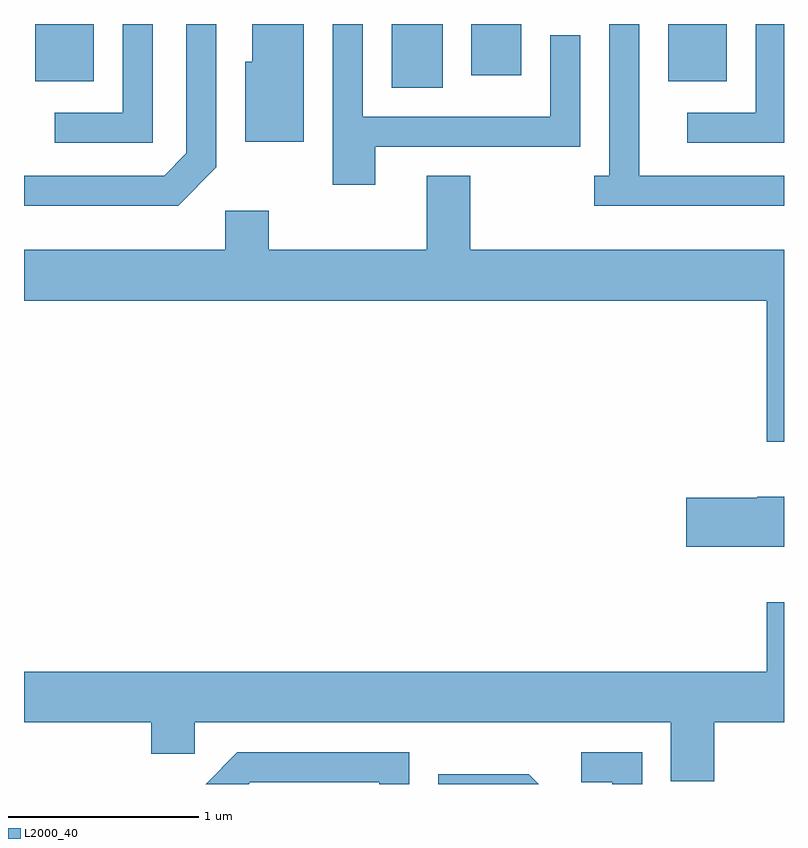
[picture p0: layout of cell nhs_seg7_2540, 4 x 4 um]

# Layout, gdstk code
import gdstk
lib = gdstk.Library(unit=1e-6, precision=1e-09)
def R(c, l, rs):  # rectangles x0, y0, x1, y1
    for r in rs: c.add(gdstk.rectangle(r[:2], r[2:], *l))
def P(c, l, *ps):  # polygons
    for p in ps: c.add(gdstk.Polygon(p, *l))
L2000_40 = (2000, 40)

nhs_seg7_2540 = lib.new_cell('nhs_seg7_2540')
R(nhs_seg7_2540, L2000_40, [(265.546,1679.916,265.814,1680.252), (263.671,1679.951,263.979,1680.252), (267.001,1679.951,267.309,1680.252), (265.966,1679.981,266.229,1680.252)])
P(nhs_seg7_2540, L2000_40, [(264.624,1679.499),(264.624,1680.252),(264.466,1680.252),(264.466,1679.572),(264.349,1679.454),(263.611,1679.454),(263.611,1679.296),(264.422,1679.296)],
  [(267.611,1680.252),(267.461,1680.252),(267.461,1679.784),(267.103,1679.784),(267.103,1679.626),(267.611,1679.626)],
  [(267.611,1679.454),(266.849,1679.454),(266.849,1680.252),(266.691,1680.252),(266.691,1679.454),(266.613,1679.454),(266.613,1679.296),(267.611,1679.296)],
  [(264.289,1680.252),(264.131,1680.252),(264.131,1679.784),(263.773,1679.784),(263.773,1679.626),(264.289,1679.626)],
  [(265.084,1680.252),(264.811,1680.252),(264.811,1680.054),(264.776,1680.054),(264.776,1679.631),(265.084,1679.631)],
  [(265.459,1679.606),(266.539,1679.606),(266.539,1680.193),(266.381,1680.193),(266.381,1679.764),(265.394,1679.764),(265.394,1680.252),(265.236,1680.252),(265.236,1679.406),(265.459,1679.406)],
  [(267.611,1679.064),(265.959,1679.064),(265.959,1679.454),(265.731,1679.454),(265.731,1679.064),(264.899,1679.064),(264.899,1679.269),(264.671,1679.269),(264.671,1679.064),(263.611,1679.064),(263.611,1678.796),(267.521,1678.796),(267.521,1678.053),(267.611,1678.053)],
  [(267.611,1677.764),(267.47,1677.764),(267.47,1677.759),(267.096,1677.759),(267.096,1677.501),(267.611,1677.501)],
  [(267.244,1676.576),(267.611,1676.576),(267.611,1677.208),(267.521,1677.208),(267.521,1676.844),(263.611,1676.844),(263.611,1676.576),(264.281,1676.576),(264.281,1676.411),(264.509,1676.411),(264.509,1676.576),(267.016,1676.576),(267.016,1676.266),(267.244,1676.266)],
  [(266.864,1676.419),(266.543,1676.419),(266.543,1676.261),(266.706,1676.261),(266.706,1676.252),(266.864,1676.252)],
  [(264.802,1676.261),(265.481,1676.261),(265.481,1676.252),(265.639,1676.252),(265.639,1676.419),(264.734,1676.419),(264.567,1676.252),(264.793,1676.252)],
  [(266.267,1676.304),(265.791,1676.304),(265.791,1676.252),(266.319,1676.252)])

lib.write_gds('nhs_seg7_2540.gds')
